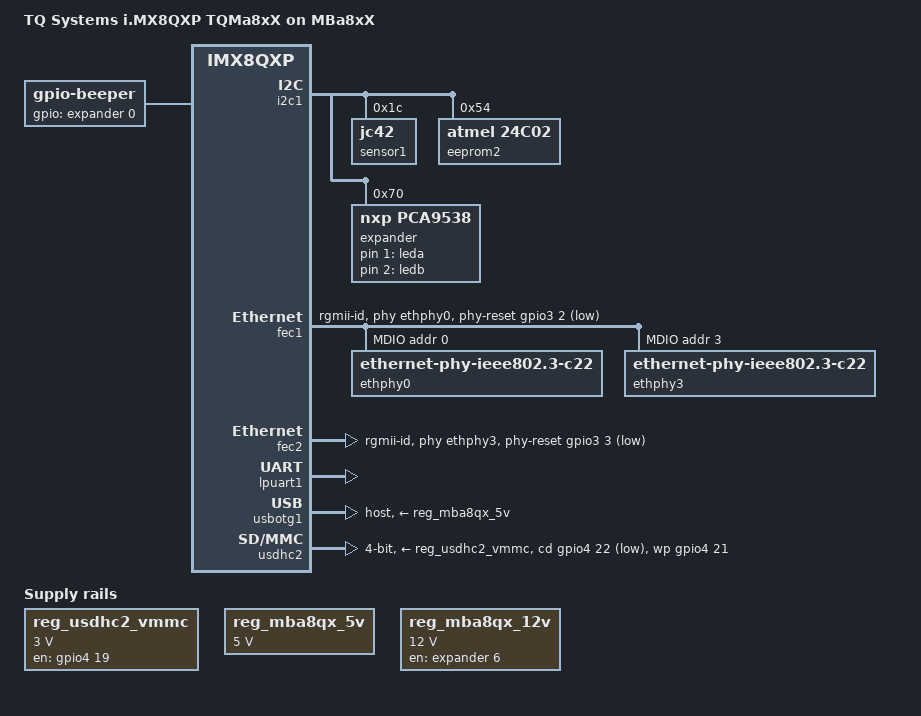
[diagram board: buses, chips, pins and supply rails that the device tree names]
/*
 * Copyright 2018 TQ Systems GmbH
 *
 * This program is free software; you can redistribute it and/or
 * modify it under the terms of the GNU General Public License
 * as published by the Free Software Foundation; either version 2
 * of the License, or (at your option) any later version.
 *
 * This program is distributed in the hope that it will be useful,
 * but WITHOUT ANY WARRANTY; without even the implied warranty of
 * MERCHANTABILITY or FITNESS FOR A PARTICULAR PURPOSE.  See the
 * GNU General Public License for more details.
 */

#include <dt-bindings/net/ti-dp83867.h>

/ {
	model = "TQ Systems i.MX8QXP TQMa8xX on MBa8xX";
	compatible = "tqc,tqma8qx-mba8qx", "tqc,tqma8qx", "fsl,imx8qxp";

	chosen {
		bootargs = "console=ttyLP1,115200 earlycon=lpuart32,0x5a070000,115200";
		stdout-path = &lpuart1;
	};

	beeper: gpio-beeper {
		compatible = "gpio-beeper";
		gpios = <&expander 0 GPIO_ACTIVE_HIGH>;
		status = "okay";
	};

	gpio-leds {
		compatible = "gpio-leds";
		status = "okay";

		led1 {
			label = "leda";
			gpios = <&expander 1 GPIO_ACTIVE_HIGH>;
			linux,default-trigger = "default-on";
		};

		led2 {
			label = "ledb";
			gpios = <&expander 2 GPIO_ACTIVE_HIGH>;
			linux,default-trigger = "heartbeat";
		};
	};

	regulators {
		compatible = "simple-bus";
		#address-cells = <1>;
		#size-cells = <0>;

		reg_usdhc2_vmmc: usdhc2_vmmc {
			compatible = "regulator-fixed";
			regulator-name = "SD1_SPWR";
			regulator-min-microvolt = <3000000>;
			regulator-max-microvolt = <3000000>;
			gpio = <&gpio4 19 GPIO_ACTIVE_HIGH>;
			enable-active-high;
			startup-delay-us = <100>;
			off-on-delay-us = <12000>;
			status = "okay";
		};

		reg_mba8qx_5v: mba8qx_5v {
			compatible = "regulator-fixed";
			regulator-name = "MBA8QX_V5V";
			regulator-min-microvolt = <5000000>;
			regulator-max-microvolt = <5000000>;
			regulator-always-on;
			status = "okay";
		};

		reg_mba8qx_12v: mba8qx_12v {
			compatible = "regulator-fixed";
			regulator-name = "MBA8QX_12V";
			regulator-min-microvolt = <12000000>;
			regulator-max-microvolt = <12000000>;
			gpio = <&expander 6 GPIO_ACTIVE_HIGH>;
			enable-active-high;
			status = "okay";
		};
	};
};

&i2c1 {
	/*
	 * NXP SE97BTP with temperature sensor + eeprom
	 * ATTENTION: do not use correct dt compatible since this will conflict
	 * with hwmon sysfs ABI and break device registration
	 */
	sensor1: jc42@1c {
		compatible = "jc42";
		reg = <0x1c>;
		status = "okay";
	};

	eeprom2: 24c02@54 {
		compatible = "atmel,24c02";
		reg = <0x54>;
		pagesize = <16>;
		status = "okay";
	};

	expander: pca9538@70 {
		compatible = "nxp,pca9538";
		reg = <0x70>;
		pinctrl-names = "default";
		pinctrl-0 = <&pinctrl_pca9538>;
		gpio-controller;
		#gpio-cells = <2>;
/*
		interrupt-parent = <&gpio3>;
		interrupts = <8 IRQ_TYPE_LEVEL_LOW>;
*/
	};
};

&iomuxc {
	pinctrl-names = "default";
	tqma8qx-mba8qx {

		pinctrl_lpuart0: lpuart0grp {
			fsl,pins = <
				SC_P_UART0_RX_ADMA_UART0_RX	0x06000020
				SC_P_UART0_TX_ADMA_UART0_TX	0x06000020
			>;
		};

		pinctrl_lpuart1: lpuart1grp {
			fsl,pins = <
				SC_P_UART1_RX_ADMA_UART1_RX	0x06000020
				SC_P_UART1_TX_ADMA_UART1_TX	0x06000020
			>;
		};

		pinctrl_fec1: fec1grp {
			fsl,pins = <
				SC_P_ENET0_MDC_CONN_ENET0_MDC			0x06000048
				SC_P_ENET0_MDIO_CONN_ENET0_MDIO			0x06000048
				SC_P_ENET0_RGMII_TX_CTL_CONN_ENET0_RGMII_TX_CTL	0x06000048
				SC_P_ENET0_RGMII_TXC_CONN_ENET0_RGMII_TXC	0x06000048
				SC_P_ENET0_RGMII_TXD0_CONN_ENET0_RGMII_TXD0	0x06000048
				SC_P_ENET0_RGMII_TXD1_CONN_ENET0_RGMII_TXD1	0x06000048
				SC_P_ENET0_RGMII_TXD2_CONN_ENET0_RGMII_TXD2	0x06000048
				SC_P_ENET0_RGMII_TXD3_CONN_ENET0_RGMII_TXD3	0x06000048
				SC_P_ENET0_RGMII_RXC_CONN_ENET0_RGMII_RXC	0x06000048
				SC_P_ENET0_RGMII_RX_CTL_CONN_ENET0_RGMII_RX_CTL	0x06000048
				SC_P_ENET0_RGMII_RXD0_CONN_ENET0_RGMII_RXD0	0x06000048
				SC_P_ENET0_RGMII_RXD1_CONN_ENET0_RGMII_RXD1	0x06000048
				SC_P_ENET0_RGMII_RXD2_CONN_ENET0_RGMII_RXD2	0x06000048
				SC_P_ENET0_RGMII_RXD3_CONN_ENET0_RGMII_RXD3	0x06000048

				SC_P_CSI_EN_LSIO_GPIO3_IO02			0x06000048
			>;
		};

		pinctrl_fec2: fec2grp {
			fsl,pins = <
				SC_P_ESAI0_SCKR_CONN_ENET1_RGMII_TX_CTL		0x06000048
				SC_P_ESAI0_FSR_CONN_ENET1_RGMII_TXC		0x06000048
				SC_P_ESAI0_TX4_RX1_CONN_ENET1_RGMII_TXD0	0x06000048
				SC_P_ESAI0_TX5_RX0_CONN_ENET1_RGMII_TXD1	0x06000048
				SC_P_ESAI0_FST_CONN_ENET1_RGMII_TXD2		0x06000048
				SC_P_ESAI0_SCKT_CONN_ENET1_RGMII_TXD3		0x06000048
				SC_P_ESAI0_TX0_CONN_ENET1_RGMII_RXC		0x06000048
				SC_P_SPDIF0_TX_CONN_ENET1_RGMII_RX_CTL		0x06000048
				SC_P_SPDIF0_RX_CONN_ENET1_RGMII_RXD0		0x06000048
				SC_P_ESAI0_TX3_RX2_CONN_ENET1_RGMII_RXD1	0x06000048
				SC_P_ESAI0_TX2_RX3_CONN_ENET1_RGMII_RXD2	0x06000048
				SC_P_ESAI0_TX1_CONN_ENET1_RGMII_RXD3		0x06000048

				SC_P_CSI_RESET_LSIO_GPIO3_IO03			0x06000048
			>;
		};

		pinctrl_pca9538: pca9538grp {
			fsl,pins = <
				SC_P_MIPI_CSI0_GPIO0_00_LSIO_GPIO3_IO08		0x06000020
			>;
		};

		pinctrl_usbotg1: usbotg1grp {
			fsl,pins = <
				SC_P_USB_SS3_TC0_CONN_USB_OTG1_PWR	0x06000020
				SC_P_USB_SS3_TC2_CONN_USB_OTG1_OC	0x06000020
			>;
		};

		pinctrl_usdhc2_gpio: usdhc2gpiogrp {
			fsl,pins = <
				SC_P_USDHC1_RESET_B_LSIO_GPIO4_IO19	0x06000021
				SC_P_USDHC1_WP_LSIO_GPIO4_IO21		0x06000021
				SC_P_USDHC1_CD_B_LSIO_GPIO4_IO22	0x06000021
			>;
		};

		pinctrl_usdhc2: usdhc2grp {
			fsl,pins = <
				SC_P_USDHC1_CLK_CONN_USDHC1_CLK		0x06000041
				SC_P_USDHC1_CMD_CONN_USDHC1_CMD		0x06000021
				SC_P_USDHC1_DATA0_CONN_USDHC1_DATA0	0x06000021
				SC_P_USDHC1_DATA1_CONN_USDHC1_DATA1	0x06000021
				SC_P_USDHC1_DATA2_CONN_USDHC1_DATA2	0x06000021
				SC_P_USDHC1_DATA3_CONN_USDHC1_DATA3	0x06000021
				SC_P_USDHC1_VSELECT_CONN_USDHC1_VSELECT	0x06000021
			>;
		};

		pinctrl_usdhc2_100mhz: usdhc2grp100mhz {
			fsl,pins = <
				SC_P_USDHC1_CLK_CONN_USDHC1_CLK		0x06000040
				SC_P_USDHC1_CMD_CONN_USDHC1_CMD		0x06000020
				SC_P_USDHC1_DATA0_CONN_USDHC1_DATA0	0x06000020
				SC_P_USDHC1_DATA1_CONN_USDHC1_DATA1	0x06000020
				SC_P_USDHC1_DATA2_CONN_USDHC1_DATA2	0x06000020
				SC_P_USDHC1_DATA3_CONN_USDHC1_DATA3	0x06000020
				SC_P_USDHC1_VSELECT_CONN_USDHC1_VSELECT	0x06000020
			>;
		};

		pinctrl_usdhc2_200mhz: usdhc2grp200mhz {
			fsl,pins = <
				SC_P_USDHC1_CLK_CONN_USDHC1_CLK		0x06000040
				SC_P_USDHC1_CMD_CONN_USDHC1_CMD		0x06000020
				SC_P_USDHC1_DATA0_CONN_USDHC1_DATA0	0x06000020
				SC_P_USDHC1_DATA1_CONN_USDHC1_DATA1	0x06000020
				SC_P_USDHC1_DATA2_CONN_USDHC1_DATA2	0x06000020
				SC_P_USDHC1_DATA3_CONN_USDHC1_DATA3	0x06000020
				SC_P_USDHC1_VSELECT_CONN_USDHC1_VSELECT	0x06000020
			>;
		};
	};
};

&fec1 {
	pinctrl-names = "default";
	pinctrl-0 = <&pinctrl_fec1>;
	phy-mode = "rgmii-id";
	phy-handle = <&ethphy0>;
	phy-reset-gpios = <&gpio3 2 GPIO_ACTIVE_LOW>;
	phy-reset-duration = <500>;
	fsl,magic-packet;
	mac-address = [ 00 00 00 00 00 00 ];
	local-mac-address = [ 00 00 00 00 00 00 ];
	status = "okay";

	mdio {
		#address-cells = <1>;
		#size-cells = <0>;

		ethphy0: ethernet-phy@0 {
			compatible = "ethernet-phy-ieee802.3-c22";
			reg = <0>;
			ti,rx-internal-delay = <DP83867_RGMIIDCTL_2_50_NS>;
			ti,tx-internal-delay = <DP83867_RGMIIDCTL_2_50_NS>;
			ti,dp83867-rxctrl-strap-quirk;
			ti,led-cfg1 = <0xc100>; /* LED1: Link, LED2: activity */
			ti,led-cfg2 = <0x1001>; /* active low, LED1/2 driven by phy */
		};

		ethphy3: ethernet-phy@3 {
			compatible = "ethernet-phy-ieee802.3-c22";
			reg = <3>;
			ti,rx-internal-delay = <DP83867_RGMIIDCTL_2_50_NS>;
			ti,tx-internal-delay = <DP83867_RGMIIDCTL_2_50_NS>;
			ti,dp83867-rxctrl-strap-quirk;
			ti,led-cfg1 = <0xc100>; /* LED1: Link, LED2: activity */
			ti,led-cfg2 = <0x1001>; /* active low, LED1/2 driven by phy */
		};
	};
};

&fec2 {
	pinctrl-names = "default";
	pinctrl-0 = <&pinctrl_fec2>;
	phy-mode = "rgmii-id";
	phy-handle = <&ethphy3>;
	fsl,magic-packet;
	phy-reset-gpios = <&gpio3 3 GPIO_ACTIVE_LOW>;
	phy-reset-duration = <500>;
	mac-address = [ 00 00 00 00 00 00 ];
	local-mac-address = [ 00 00 00 00 00 00 ];

	status = "okay";
};

&lpuart1 {
	pinctrl-names = "default";
	pinctrl-0 = <&pinctrl_lpuart1>;
	status = "okay";
};

&pd_dma_lpuart1 {
	debug_console;
};

&usbotg1 {
	pinctrl-names = "default";
	pinctrl-0 = <&pinctrl_usbotg1>;
	vbus-supply = <&reg_mba8qx_5v>;
	srp-disable;
	hnp-disable;
	adp-disable;
	power-polarity-active-high;
	disable-over-current;
	dr_mode = "host";
	status = "okay";
};

&usdhc2 {
	pinctrl-names = "default", "state_100mhz", "state_200mhz";
	pinctrl-0 = <&pinctrl_usdhc2>, <&pinctrl_usdhc2_gpio>;
	pinctrl-1 = <&pinctrl_usdhc2_100mhz>, <&pinctrl_usdhc2_gpio>;
	pinctrl-2 = <&pinctrl_usdhc2_200mhz>, <&pinctrl_usdhc2_gpio>;
	bus-width = <4>;
	cd-gpios = <&gpio4 22 GPIO_ACTIVE_LOW>;
	wp-gpios = <&gpio4 21 GPIO_ACTIVE_HIGH>;
	vmmc-supply = <&reg_usdhc2_vmmc>;
	status = "okay";
};
